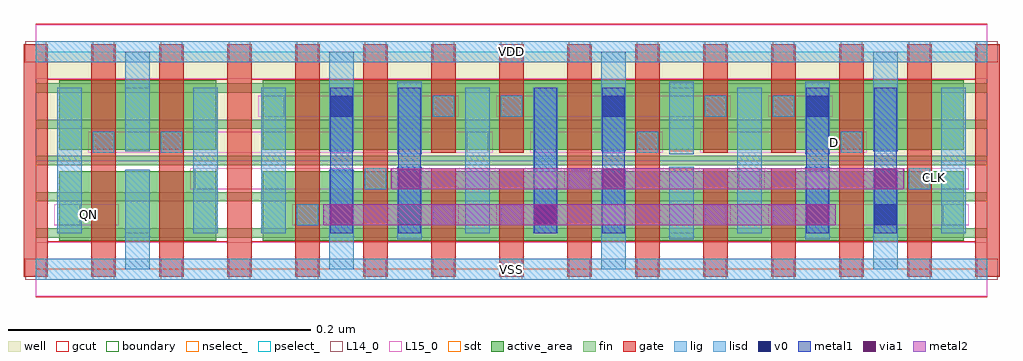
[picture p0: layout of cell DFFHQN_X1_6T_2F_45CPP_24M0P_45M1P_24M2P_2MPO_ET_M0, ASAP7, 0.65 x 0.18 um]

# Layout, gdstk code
import gdstk
lib = gdstk.Library(unit=1e-6, precision=2.5e-10)
def R(c, l, rs):  # rectangles x0, y0, x1, y1
    for r in rs: c.add(gdstk.rectangle(r[:2], r[2:], *l))
def A(c, l, x, y, w, h, nx, ny, dx, dy):  # array of equal rectangles
    R(c, l, [(x+i*dx, y+j*dy, x+i*dx+w, y+j*dy+h) for i in range(nx) for j in range(ny)])
well = (1, 0)
fin = (2, 0)
gate = (7, 0)
gcut = (10, 0)
active_area = (11, 0)
nselect_ = (12, 0)
pselect_ = (13, 0)
L14_0 = (14, 0)
L15_0 = (15, 0)
lig = (16, 0)
lisd = (17, 0)
v0 = (18, 0)
metal1 = (19, 0)
metal2 = (20, 0)
via1 = (21, 0)
sdt = (88, 0)
boundary = (100, 0)

dffhqn_x1_6t_2f_45cpp_24 = lib.new_cell('DFFHQN_X1_6T_2F_45CPP_24M0P_45M1P_24M2P_2MPO_ET_M0')
R(dffhqn_x1_6t_2f_45cpp_24, well, [(0,0.072,0.63,0.144)])
A(dffhqn_x1_6t_2f_45cpp_24, fin, 0, 0.021, 0.63, 0.006, 1, 5, 0, 0.024)
A(dffhqn_x1_6t_2f_45cpp_24, gate, -0.008, -0.005, 0.016, 0.154, 6, 1, 0.045, 0)
A(dffhqn_x1_6t_2f_45cpp_24, gate, 0.532, -0.005, 0.016, 0.154, 3, 1, 0.045, 0)
R(dffhqn_x1_6t_2f_45cpp_24, gate, [(0.262,-0.005,0.278,0.067), (0.307,-0.005,0.323,0.067), (0.352,-0.005,0.368,0.149), (0.397,-0.005,0.413,0.149), (0.442,-0.005,0.458,0.067), (0.487,-0.005,0.503,0.067), (0.262,0.077,0.278,0.149), (0.307,0.077,0.323,0.149), (0.442,0.077,0.458,0.149), (0.487,0.077,0.503,0.149)])
R(dffhqn_x1_6t_2f_45cpp_24, gcut, [(0,-0.0185,0.63,0.0185), (-0.008,-0.005,0.008,0.149), (0.127,-0.005,0.143,0.149), (0.622,-0.005,0.638,0.149), (0,0.1255,0.63,0.1625)])
A(dffhqn_x1_6t_2f_45cpp_24, active_area, 0.1505, 0.019, 0.059, 0.046, 10, 2, 0.045, 0.06)
R(dffhqn_x1_6t_2f_45cpp_24, active_area, [(0.0155,0.019,0.0745,0.065), (0.0605,0.019,0.1195,0.065), (0.0155,0.079,0.0745,0.125), (0.0605,0.079,0.1195,0.125)])
R(dffhqn_x1_6t_2f_45cpp_24, nselect_, [(0,0,0.63,0.072)])
R(dffhqn_x1_6t_2f_45cpp_24, pselect_, [(0,0.072,0.63,0.144)])
A(dffhqn_x1_6t_2f_45cpp_24, L14_0, -0.007, -0.007, 0.014, 0.014, 15, 2, 0.045, 0.144)
A(dffhqn_x1_6t_2f_45cpp_24, L14_0, 0.353, 0.053, 0.014, 0.014, 3, 1, 0.1125, 0)
R(dffhqn_x1_6t_2f_45cpp_24, L14_0, [(0.0155,0.029,0.0295,0.043), (0.173,0.029,0.187,0.043), (0.263,0.029,0.277,0.043), (0.308,0.029,0.322,0.043), (0.443,0.029,0.457,0.043), (0.488,0.029,0.502,0.043), (0.6005,0.029,0.6145,0.043), (0.1055,0.053,0.1195,0.067), (0.218,0.053,0.232,0.067), (0.038,0.077,0.052,0.091), (0.083,0.077,0.097,0.091), (0.2855,0.077,0.2995,0.091), (0.3305,0.077,0.3445,0.091), (0.398,0.077,0.412,0.091), (0.533,0.077,0.547,0.091), (0.1505,0.101,0.1645,0.115), (0.263,0.101,0.277,0.115), (0.308,0.101,0.322,0.115), (0.443,0.101,0.457,0.115), (0.488,0.101,0.502,0.115)])
R(dffhqn_x1_6t_2f_45cpp_24, L15_0, [(0,-0.018,0.63,0.018), (0.0125,0.029,0.055,0.043), (0.17,0.029,0.28,0.043), (0.305,0.029,0.46,0.043), (0.485,0.029,0.6175,0.043), (0.1025,0.053,0.235,0.067), (0.35,0.053,0.4825,0.067), (0.575,0.053,0.6175,0.067), (0.035,0.077,0.3025,0.091), (0.3275,0.077,0.415,0.091), (0.44,0.077,0.55,0.091), (0.1475,0.101,0.28,0.115), (0.305,0.101,0.46,0.115), (0.485,0.101,0.5275,0.115), (0,0.126,0.63,0.162)])
R(dffhqn_x1_6t_2f_45cpp_24, lig, [(0,-0.007,0.63,0.007), (0.173,0.029,0.187,0.043), (0.263,0.029,0.277,0.043), (0.308,0.029,0.322,0.043), (0.443,0.029,0.457,0.043), (0.488,0.029,0.502,0.043), (0.218,0.053,0.232,0.067), (0.353,0.053,0.367,0.067), (0.578,0.053,0.592,0.067), (0.038,0.077,0.052,0.091), (0.083,0.077,0.097,0.091), (0.398,0.077,0.412,0.091), (0.533,0.077,0.547,0.091), (0.263,0.101,0.277,0.115), (0.308,0.101,0.322,0.115), (0.443,0.101,0.457,0.115), (0.488,0.101,0.502,0.115), (0,0.137,0.63,0.151)])
A(dffhqn_x1_6t_2f_45cpp_24, lisd, 0.1945, 0, 0.016, 0.066, 3, 2, 0.18, 0.078)
A(dffhqn_x1_6t_2f_45cpp_24, lisd, 0.3295, 0.024, 0.016, 0.096, 3, 1, 0.135, 0)
R(dffhqn_x1_6t_2f_45cpp_24, lisd, [(0.0595,0,0.0755,0.066), (0.2395,0.02,0.2555,0.068), (0.4195,0.02,0.4355,0.068), (0.5095,0.02,0.5255,0.068), (0.0145,0.024,0.0305,0.12), (0.1045,0.024,0.1205,0.12), (0.1495,0.024,0.1655,0.12), (0.2845,0.024,0.3005,0.12), (0.2395,0.076,0.2555,0.124), (0.4195,0.076,0.4355,0.124), (0.5095,0.076,0.5255,0.124), (0.0595,0.078,0.0755,0.144)])
R(dffhqn_x1_6t_2f_45cpp_24, v0, [(0.2405,0.029,0.2545,0.043), (0.3305,0.029,0.3445,0.043), (0.5555,0.029,0.5695,0.043), (0.1955,0.101,0.2095,0.115), (0.3755,0.101,0.3895,0.115), (0.5105,0.101,0.5245,0.115)])
R(dffhqn_x1_6t_2f_45cpp_24, metal1, [(0.195,0.024,0.21,0.12), (0.24,0.024,0.255,0.12), (0.33,0.024,0.345,0.12), (0.375,0.024,0.39,0.12), (0.51,0.024,0.525,0.12), (0.555,0.024,0.57,0.12)])
R(dffhqn_x1_6t_2f_45cpp_24, metal2, [(0.1905,0.029,0.5295,0.043), (0.2355,0.053,0.5745,0.067)])
R(dffhqn_x1_6t_2f_45cpp_24, via1, [(0.1955,0.029,0.2095,0.043), (0.3305,0.029,0.3445,0.043), (0.5105,0.029,0.5245,0.043), (0.2405,0.053,0.2545,0.067), (0.3755,0.053,0.3895,0.067), (0.5555,0.053,0.5695,0.067)])
A(dffhqn_x1_6t_2f_45cpp_24, sdt, 0.3295, 0.024, 0.016, 0.096, 3, 1, 0.135, 0)
R(dffhqn_x1_6t_2f_45cpp_24, sdt, [(0.0145,0.024,0.0305,0.12), (0.0595,0.024,0.0755,0.066), (0.1045,0.024,0.1205,0.12), (0.1495,0.024,0.1655,0.12), (0.1945,0.024,0.2105,0.066), (0.2395,0.024,0.2555,0.066), (0.2845,0.024,0.3005,0.12), (0.3745,0.024,0.3905,0.066), (0.4195,0.024,0.4355,0.066), (0.5095,0.024,0.5255,0.066), (0.5545,0.024,0.5705,0.066), (0.0595,0.078,0.0755,0.12), (0.1945,0.078,0.2105,0.12), (0.2395,0.078,0.2555,0.12), (0.3745,0.078,0.3905,0.12), (0.4195,0.078,0.4355,0.12), (0.5095,0.078,0.5255,0.12), (0.5545,0.078,0.5705,0.12)])
R(dffhqn_x1_6t_2f_45cpp_24, boundary, [(0,0,0.63,0.144)])
dffhqn_x1_6t_2f_45cpp_24.add(gdstk.Label('QN', (0.0348,0.0365), layer=15, texttype=251))
dffhqn_x1_6t_2f_45cpp_24.add(gdstk.Label('CLK', (0.5948,0.0605), layer=15, texttype=251))
dffhqn_x1_6t_2f_45cpp_24.add(gdstk.Label('D', (0.5288,0.084), layer=15, texttype=251))
dffhqn_x1_6t_2f_45cpp_24.add(gdstk.Label('VDD', (0.315,0.144), layer=15, texttype=251))
dffhqn_x1_6t_2f_45cpp_24.add(gdstk.Label('VSS', (0.315,0), layer=15, texttype=251))
dffhqn_x1_6t_2f_45cpp_24.add(gdstk.Label('VDD', (0.315,0.144), layer=1, texttype=251))
dffhqn_x1_6t_2f_45cpp_24.add(gdstk.Label('VSS', (0.315,0), layer=3, texttype=251))

lib.write_gds('DFFHQN_X1_6T_2F_45CPP_24M0P_45M1P_24M2P_2MPO_ET_M0.gds')
